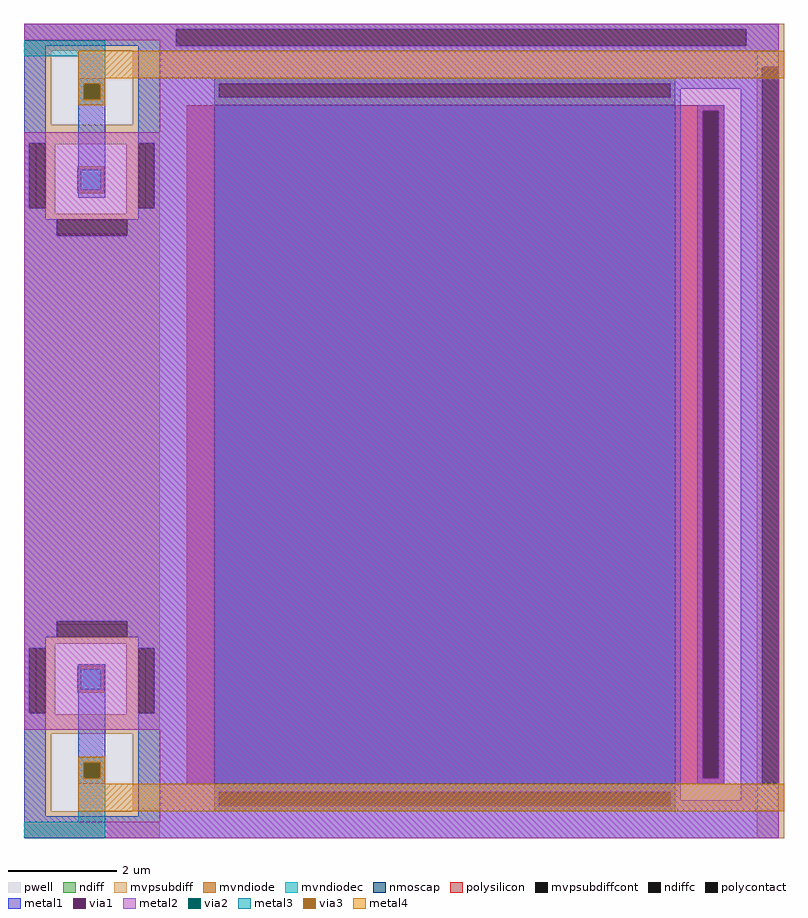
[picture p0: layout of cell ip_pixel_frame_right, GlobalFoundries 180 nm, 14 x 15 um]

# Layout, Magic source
magic
tech gf180mcuD
magscale 1 5
<< pwell >>
rect 1900 390 2150 500
rect 1900 360 2010 390
rect 2040 360 2150 390
rect 1900 -670 2150 360
rect 1900 -680 2000 -670
rect 2050 -680 2150 -670
rect 1900 -1000 2150 -680
<< mvpsubdiff >>
rect 1900 450 2150 500
rect 1900 280 1950 450
rect 1900 160 1910 280
rect 1940 160 1950 280
rect 1900 150 1950 160
rect 2100 280 2150 450
rect 2100 160 2110 280
rect 2140 160 2150 280
rect 2100 150 2150 160
rect 1900 140 2150 150
rect 1900 110 1960 140
rect 2090 110 2150 140
rect 1900 -600 2150 110
rect 1900 -630 1960 -600
rect 2090 -630 2150 -600
rect 1900 -640 2150 -630
rect 1900 -650 1950 -640
rect 1900 -770 1910 -650
rect 1940 -770 1950 -650
rect 1900 -950 1950 -770
rect 2100 -650 2150 -640
rect 2100 -770 2110 -650
rect 2140 -770 2150 -650
rect 2100 -950 2150 -770
rect 1900 -1000 2150 -950
<< mvpsubdiffcont >>
rect 1910 160 1940 280
rect 2110 160 2140 280
rect 1960 110 2090 140
rect 1960 -630 2090 -600
rect 1910 -770 1940 -650
rect 2110 -770 2140 -650
<< metal1 >>
rect 1900 460 2150 500
rect 1900 280 1940 460
rect 1900 160 1910 280
rect 2000 390 2050 400
rect 2000 360 2010 390
rect 2040 360 2050 390
rect 2000 180 2050 360
rect 2110 280 2150 460
rect 1900 140 1940 160
rect 2140 160 2150 280
rect 2110 140 2150 160
rect 1900 110 1960 140
rect 2090 110 2150 140
rect 1900 -600 2150 110
rect 1900 -630 1960 -600
rect 2090 -630 2150 -600
rect 1900 -650 1940 -630
rect 1900 -770 1910 -650
rect 2110 -650 2150 -630
rect 1900 -960 1940 -770
rect 2000 -900 2050 -680
rect 2140 -770 2150 -650
rect 2110 -960 2150 -770
rect 1900 -1000 2150 -960
<< metal2 >>
rect 1900 470 2150 500
rect 1900 -45 2150 300
rect 1900 -320 2690 -45
rect 1900 -800 2150 -320
rect 1900 -980 2150 -970
rect 1900 -1000 2190 -980
<< metal3 >>
rect 1900 440 2050 470
rect 2000 350 2050 440
rect 2000 -970 2050 -850
rect 1900 -1000 2050 -970
<< metal4 >>
rect 2000 400 3300 450
rect 2000 -950 3300 -900
use aux_via_M4-M1_0u5  aux_via_M4-M1_0u5_0
transform 1 0 2000 0 1 -900
box 0 0 50 50
use aux_via_M4-M1_0u5  aux_via_M4-M1_0u5_1
transform 1 0 2000 0 1 350
box 0 0 50 50
use diode_nd2ps_06v0_E2JMKK  D1
transform 1 0 2023 0 1 213
box -113 -113 113 113
use diode_nd2ps_06v0_E2JMKK  D2
transform 1 0 2023 0 1 -707
box -113 -113 113 113
use nmoscap_3p3_CUSTM2  nmoscap_3p3_CUSTM2_0
transform 1 0 5000 0 1 -600
box -2850 -400 -1700 1100
<< end >>

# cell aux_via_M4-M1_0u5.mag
magic
tech gf180mcuD
<< metal1 >>
rect 0 8 10 10
rect 0 2 2 8
rect 8 2 10 8
rect 0 0 10 2
<< via1 >>
rect 2 2 8 8
<< metal2 >>
rect 0 8 10 10
rect 0 2 2 8
rect 8 2 10 8
rect 0 0 10 2
<< via2 >>
rect 2 2 8 8
<< metal3 >>
rect 0 8 10 10
rect 0 2 2 8
rect 8 2 10 8
rect 0 0 10 2
<< via3 >>
rect 2 2 8 8
<< metal4 >>
rect 0 8 10 10
rect 0 2 2 8
rect 8 2 10 8
rect 0 0 10 2
<< end >>

# cell diode_nd2ps_06v0_E2JMKK: kit device diode_nd2ps_06v0, w 0.5 l 0.5 area 250.0m peri 2.0 nx 1 ny 1 dummy 0 lmin 0.45 wmin 0.45 class diode elc 0 erc 0 etc 0 ebc 0 doverlap 0 full_metal 0 compatible {diode_nd2ps_03v3 diode_nd2ps_06v0}

# cell nmoscap_3p3_CUSTM2: kit device nmoscap_3p3, w 6.5 l 12.5 m 1 nf 1 diffcov 100 polycov 100 guard 0 glc 0 grc 0 gtc 0 gbc 0 tbcov 100 rlcov 100 topc 1 botc 0 poverlap 0 doverlap 1 lmin 0.28 wmin 0.22 class mosfet full_metal 0 compatible {nmoscap_3p3 nmoscap_6p0}
